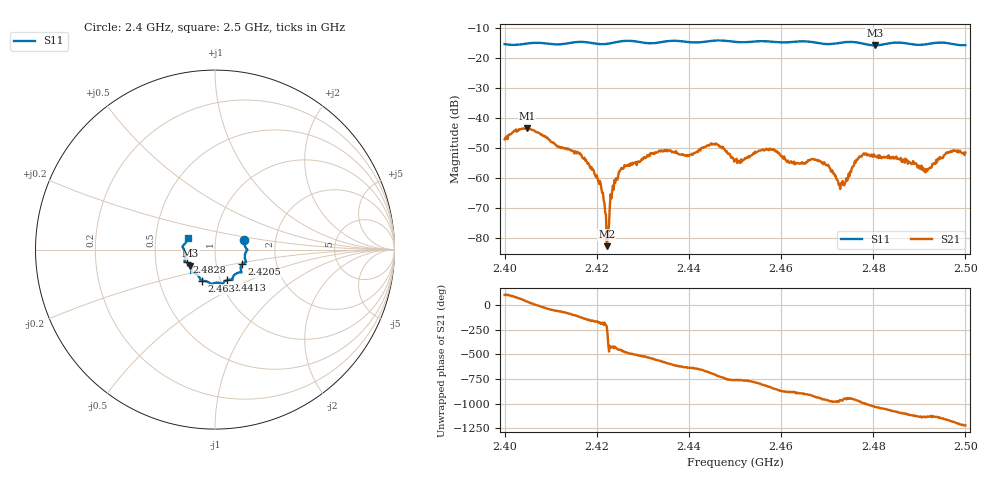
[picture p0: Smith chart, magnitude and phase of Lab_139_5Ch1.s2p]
# Hz S RI R 50
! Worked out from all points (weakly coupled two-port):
!   601 points, 2.4 GHz to 2.5 GHz, reference 50 ohm
!   highest |S21| = -43.42 dB at 2.4048 GHz (marker M1); lowest = -82.8 dB at 2.4222 GHz (marker M2)
!   lowest |S11| = -15.7 dB at 2.4803 GHz (marker M3), VSWR 1.39, Z = 37.4 - j6.84 ohm
!   |S11| at or under -10 dB: start of sweep to end of sweep
!   S12 and S22 are empty: the file has one direction only
!   S11 on the Smith chart (normalised r, x): 2.4 GHz: 1.38, +0.15; 2.4205 GHz: 1.34, -0.22; 2.4413 GHz: 1.08, -0.38; 2.463 GHz: 0.82, -0.29; 2.4828 GHz: 0.72, -0.10; 2.5 GHz: 0.73, +0.10
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2.4e9  0.1631 0.0524  -0.00105 0.00429  0 0  0 0
2.404833e9  0.1751 0.00492  0.00539 0.00405  0 0  0 0
2.416667e9  0.1734 -0.0696  -0.00147 -0.00193  0 0  0 0
2.4205e9  0.1519 -0.0808  -0.000789 -8.13e-05  0 0  0 0
2.422167e9  0.1438 -0.0963  -5.85e-05 4.3e-05  0 0  0 0
2.422667e9  0.1428 -0.1013  -6.03e-05 -0.000166  0 0  0 0
2.4235e9  0.1431 -0.1098  0.00039 -0.000633  0 0  0 0
2.425167e9  0.1465 -0.1224  -3.03e-05 -0.00137  0 0  0 0
2.433333e9  0.1004 -0.1514  -0.0026 0.000873  0 0  0 0
2.441333e9  0.0676 -0.1696  0.000605 0.00254  0 0  0 0
2.445667e9  0.0425 -0.1919  0.00346 0.000962  0 0  0 0
2.45e9  0.0246 -0.1856  0.00152 -0.0013  0 0  0 0
2.458e9  -0.0307 -0.1855  -0.0014 -0.0026  0 0  0 0
2.463e9  -0.072 -0.1736  -0.00165 -0.000333  0 0  0 0
2.466667e9  -0.0816 -0.1674  -0.00196 0.000672  0 0  0 0
2.473333e9  -0.1283 -0.1302  -0.00032 0.000828  0 0  0 0
2.476833e9  -0.1317 -0.1243  -0.000642 0.00207  0 0  0 0
2.480333e9  -0.1371 -0.089  0.00152 0.00171  0 0  0 0
2.482833e9  -0.1586 -0.07  0.00205 0.00091  0 0  0 0
2.483333e9  -0.1624 -0.0681  0.00228 0.000721  0 0  0 0
2.4915e9  -0.1705 -0.00375  0.000894 -0.00108  0 0  0 0
2.5e9  -0.1519 0.064  -0.00202 -0.00172  0 0  0 0
